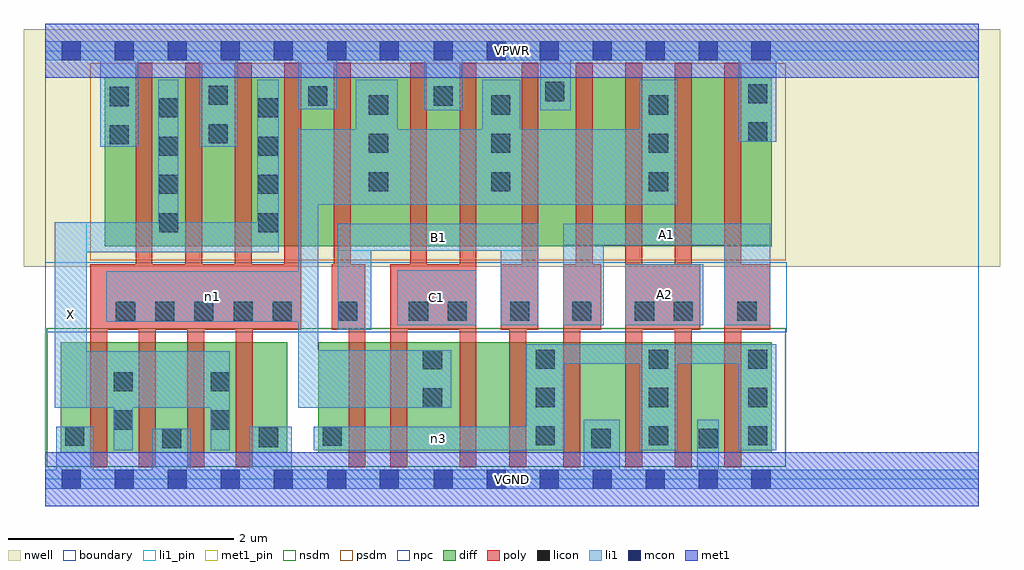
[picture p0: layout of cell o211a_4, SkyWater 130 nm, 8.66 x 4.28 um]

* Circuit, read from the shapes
.subckt o211a_4 A1 A2 B1 C1 VGND VPWR X n1 n3
XM1 X n1 VGND VSUBS sky130_fd_pr__nfet_01v8 w=0.98 l=0.15 m=4
XM2 n2 B1 n3 VSUBS sky130_fd_pr__nfet_01v8 w=0.98 l=0.15
XM3 n1 C1 n2 VSUBS sky130_fd_pr__nfet_01v8 w=0.98 l=0.15
XM4 n4 C1 n1 VSUBS sky130_fd_pr__nfet_01v8 w=0.98 l=0.15
XM5 n3 B1 n4 VSUBS sky130_fd_pr__nfet_01v8 w=0.98 l=0.15
XM6 VGND A1 n3 VSUBS sky130_fd_pr__nfet_01v8 w=0.98 l=0.15 m=2
XM7 n3 A2 VGND VSUBS sky130_fd_pr__nfet_01v8 w=0.98 l=0.15 m=2
XM8 X n1 VPWR n5 sky130_fd_pr__pfet_01v8 w=1.5 l=0.15 m=4
XM9 n1 B1 VPWR n5 sky130_fd_pr__pfet_01v8 w=1.5 l=0.15 m=2
XM10 VPWR C1 n1 n5 sky130_fd_pr__pfet_01v8 w=1.5 l=0.15 m=2
XM11 n6 A1 VPWR n5 sky130_fd_pr__pfet_01v8 w=1.5 l=0.15
XM12 n1 A2 n6 n5 sky130_fd_pr__pfet_01v8 w=1.5 l=0.15
XM13 n7 A2 n1 n5 sky130_fd_pr__pfet_01v8 w=1.5 l=0.15
XM14 VPWR A1 n7 n5 sky130_fd_pr__pfet_01v8 w=1.5 l=0.15
.ends

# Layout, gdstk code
import gdstk
lib = gdstk.Library(unit=1e-6, precision=1e-09)
def R(c, l, rs):  # rectangles x0, y0, x1, y1
    for r in rs: c.add(gdstk.rectangle(r[:2], r[2:], *l))
def A(c, l, x, y, w, h, nx, ny, dx, dy):  # array of equal rectangles
    R(c, l, [(x+i*dx, y+j*dy, x+i*dx+w, y+j*dy+h) for i in range(nx) for j in range(ny)])
nwell = (64, 20)
diff = (65, 20)
poly = (66, 20)
licon = (66, 44)
li1_pin = (67, 16)
li1 = (67, 20)
mcon = (67, 44)
met1_pin = (68, 16)
met1 = (68, 20)
nsdm = (93, 44)
psdm = (94, 20)
npc = (95, 20)
boundary = (235, 4)

o211a_4 = lib.new_cell('o211a_4')
R(o211a_4, nwell, [(-0.19,1.885,8.47,3.99), (0,1.885,8.28,3.99)])
R(o211a_4, diff, [(0.135,0.235,2.145,1.215), (2.42,0.235,6.445,1.215), (0.525,2.065,6.445,3.565)])
A(o211a_4, poly, 0.4, 0.105, 0.15, 1.8, 4, 1, 0.43, 0)
A(o211a_4, poly, 5.145, 0.105, 0.15, 3.59, 3, 1, 0.44, 0)
A(o211a_4, poly, 0.8, 1.325, 0.15, 2.37, 4, 1, 0.44, 0)
R(o211a_4, poly, [(2.69,0.105,2.84,1.905), (3.06,0.105,3.21,1.905), (3.675,0.105,3.825,3.695), (4.115,0.105,4.265,1.905), (4.595,0.105,4.745,1.905), (0.4,1.325,2.27,1.905), (2.54,1.325,2.84,1.905), (2.56,1.325,2.69,3.695), (3.06,1.325,3.825,1.905), (3.235,1.325,3.385,3.695), (4.04,1.325,4.375,1.905), (4.225,1.325,4.375,3.695), (4.595,1.325,4.93,1.905), (4.705,1.325,4.855,3.695), (5.145,1.325,5.81,1.905), (6.025,1.325,6.43,1.905), (2.56,1.905,2.71,3.695)])
A(o211a_4, licon, 4.35, 0.3, 0.17, 0.17, 1, 3, 0, 0.34)
A(o211a_4, licon, 5.355, 0.3, 0.17, 0.17, 1, 3, 0, 0.34)
A(o211a_4, licon, 6.235, 0.3, 0.17, 0.17, 1, 3, 0, 0.34)
A(o211a_4, licon, 1.01, 2.19, 0.17, 0.17, 1, 4, 0, 0.34)
A(o211a_4, licon, 1.89, 2.19, 0.17, 0.17, 1, 4, 0, 0.34)
A(o211a_4, licon, 2.87, 2.555, 0.17, 0.17, 1, 3, 0, 0.34)
A(o211a_4, licon, 3.955, 2.555, 0.17, 0.17, 1, 3, 0, 0.34)
A(o211a_4, licon, 5.355, 2.555, 0.17, 0.17, 1, 3, 0, 0.34)
R(o211a_4, licon, [(1.035,0.275,1.205,0.445), (4.845,0.275,5.015,0.445), (5.795,0.275,5.965,0.445), (1.895,0.285,2.065,0.455), (0.175,0.295,0.345,0.465), (2.46,0.295,2.63,0.465), (0.605,0.44,0.775,0.61), (1.465,0.44,1.635,0.61), (3.35,0.635,3.52,0.805), (0.605,0.78,0.775,0.95), (1.465,0.78,1.635,0.95), (3.35,0.975,3.52,1.145), (0.625,1.405,0.795,1.575), (0.975,1.405,1.145,1.575), (1.32,1.405,1.49,1.575), (1.67,1.405,1.84,1.575), (2.015,1.405,2.185,1.575), (2.595,1.405,2.765,1.575), (3.225,1.405,3.395,1.575), (3.57,1.405,3.74,1.575), (4.125,1.405,4.295,1.575), (4.675,1.405,4.845,1.575), (5.23,1.405,5.4,1.575), (5.575,1.405,5.745,1.575), (6.14,1.405,6.31,1.575), (0.57,2.97,0.74,3.14), (1.45,2.98,1.62,3.15), (6.235,2.995,6.405,3.165), (0.57,3.31,0.74,3.48), (2.33,3.315,2.5,3.485), (3.445,3.315,3.615,3.485), (1.45,3.32,1.62,3.49), (6.235,3.335,6.405,3.505), (4.435,3.355,4.605,3.525)])
R(o211a_4, li1_pin, [(0.085,0.635,0.365,2.28), (3.12,1.365,3.825,1.855), (5.145,1.365,5.835,1.905), (2.595,2.025,4.375,2.265), (4.595,2.075,6.43,2.265)])
R(o211a_4, li1, [(0,-0.085,8.28,0.085), (0.095,-0.085,0.43,0.465), (0.95,-0.085,1.29,0.445), (1.81,-0.085,2.185,0.465), (4.775,-0.085,5.095,0.525), (5.785,-0.085,5.975,0.525), (0.605,0.255,0.775,1.135), (1.465,0.255,1.635,1.135), (2.38,0.255,4.605,0.465), (4.265,0.255,4.605,1.195), (5.27,0.255,5.61,1.195), (6.15,0.255,6.485,1.195), (0.085,0.635,1.635,1.135), (0.085,0.635,0.365,2.28), (2.245,0.635,3.6,1.145), (2.245,0.635,2.42,3.105), (0.605,0.945,1.635,1.135), (4.265,1.025,6.485,1.195), (2.595,1.325,2.89,2.265), (3.12,1.365,3.825,1.855), (4.04,1.365,4.375,2.265), (4.595,1.365,4.955,2.265), (5.145,1.365,5.835,1.905), (6.025,1.365,6.43,2.265), (0.54,1.395,2.42,1.845), (0.085,2.015,2.07,2.28), (1,2.015,1.18,3.545), (1.88,2.015,2.07,3.545), (2.595,2.025,4.375,2.265), (4.595,2.075,6.43,2.265), (2.245,2.435,5.61,3.105), (2.755,2.435,3.125,3.545), (3.875,2.435,4.215,3.545), (5.27,2.435,5.61,3.545), (0.485,2.95,0.825,3.885), (1.365,2.95,1.705,3.885), (6.15,2.995,6.485,3.885), (3.36,3.275,3.7,3.885), (4.39,3.275,4.66,3.885), (2.245,3.28,2.585,3.885), (0,3.715,8.28,3.885)])
A(o211a_4, mcon, 0.145, -0.085, 0.17, 0.17, 5, 2, 0.47, 3.8)
A(o211a_4, mcon, 3.445, -0.085, 0.17, 0.17, 7, 2, 0.47, 3.8)
R(o211a_4, mcon, [(2.5,-0.085,2.67,0.085), (2.965,-0.085,3.135,0.085), (2.5,3.715,2.67,3.885), (2.965,3.715,3.135,3.885)])
R(o211a_4, met1_pin, [(0,-0.24,8.28,0.24), (0,3.56,8.28,4.04)])
R(o211a_4, met1, [(0,-0.24,8.28,0.24), (0,3.56,8.28,4.04)])
R(o211a_4, nsdm, [(0.01,0.11,6.57,1.34)])
R(o211a_4, psdm, [(0.4,1.94,6.57,3.69)])
R(o211a_4, npc, [(0,1.305,6.58,1.925)])
R(o211a_4, boundary, [(0,0,8.28,3.8)])
o211a_4.add(gdstk.Label('A1', (5.512,2.17), layer=67, texttype=5))
o211a_4.add(gdstk.Label('A2', (5.49,1.635), layer=67, texttype=5))
o211a_4.add(gdstk.Label('B1', (3.485,2.145), layer=67, texttype=5))
o211a_4.add(gdstk.Label('C1', (3.472,1.61), layer=67, texttype=5))
o211a_4.add(gdstk.Label('X', (0.225,1.457), layer=67, texttype=5))
o211a_4.add(gdstk.Label('n3', (3.492,0.36), layer=67, texttype=5))
o211a_4.add(gdstk.Label('n1', (1.48,1.62), layer=67, texttype=5))
o211a_4.add(gdstk.Label('VPWR', (4.14,3.8), layer=68, texttype=5))
o211a_4.add(gdstk.Label('VGND', (4.14,0), layer=68, texttype=5))
o211a_4.add(gdstk.Label('A1', (5.512,2.17), layer=67, texttype=16))
o211a_4.add(gdstk.Label('A2', (5.49,1.635), layer=67, texttype=16))
o211a_4.add(gdstk.Label('B1', (3.485,2.145), layer=67, texttype=16))
o211a_4.add(gdstk.Label('C1', (3.472,1.61), layer=67, texttype=16))
o211a_4.add(gdstk.Label('X', (0.225,1.457), layer=67, texttype=16))
o211a_4.add(gdstk.Label('VPWR', (4.14,3.8), layer=68, texttype=16))
o211a_4.add(gdstk.Label('VGND', (4.14,0), layer=68, texttype=16))

lib.write_gds('o211a_4.gds')
